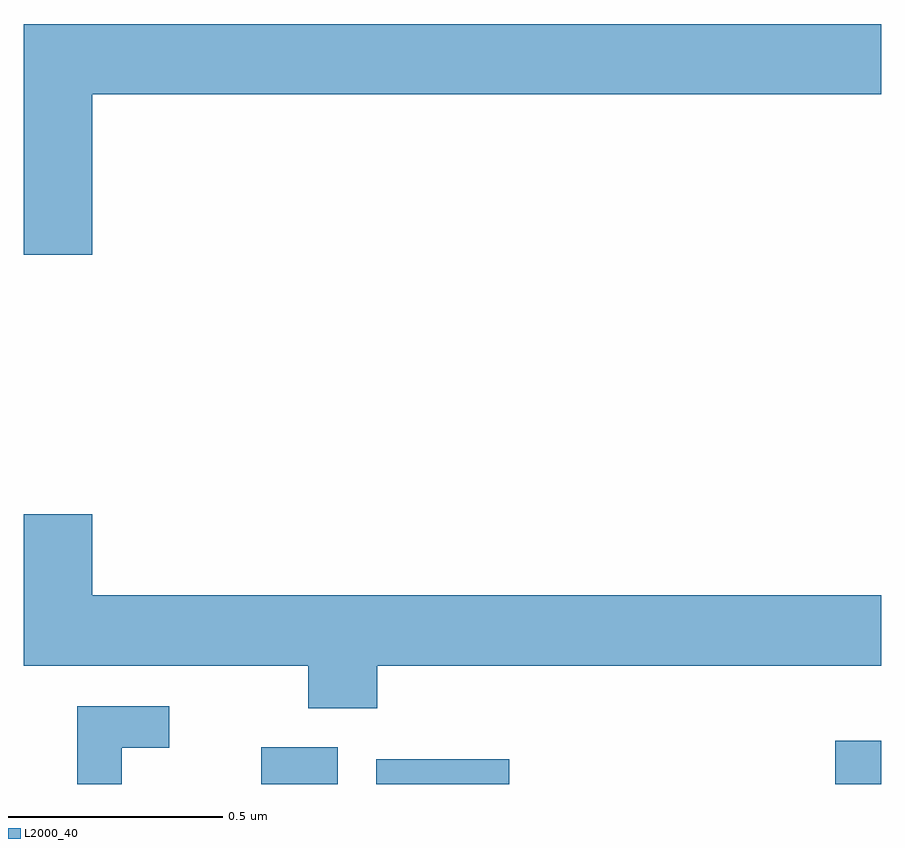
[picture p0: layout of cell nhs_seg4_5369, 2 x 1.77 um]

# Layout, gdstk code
import gdstk
lib = gdstk.Library(unit=1e-6, precision=1e-09)
def R(c, l, rs):  # rectangles x0, y0, x1, y1
    for r in rs: c.add(gdstk.rectangle(r[:2], r[2:], *l))
def P(c, l, *ps):  # polygons
    for p in ps: c.add(gdstk.Polygon(p, *l))
L2000_40 = (2000, 40)

nhs_seg4_5369 = lib.new_cell('nhs_seg4_5369')
R(nhs_seg4_5369, L2000_40, [(177.554,773.9,177.733,773.986), (177.822,773.9,178.132,773.958), (178.892,773.9,179,774.001)])
P(nhs_seg4_5369, L2000_40, [(177.16,775.508),(179,775.508),(179,775.672),(177,775.672),(177,775.134),(177.16,775.134)],
  [(177.824,774.176),(179,774.176),(179,774.34),(177.16,774.34),(177.16,774.529),(177,774.529),(177,774.176),(177.664,774.176),(177.664,774.077),(177.824,774.077)],
  [(177.229,773.985),(177.34,773.985),(177.34,774.081),(177.125,774.081),(177.125,773.9),(177.229,773.9)])

lib.write_gds('nhs_seg4_5369.gds')
